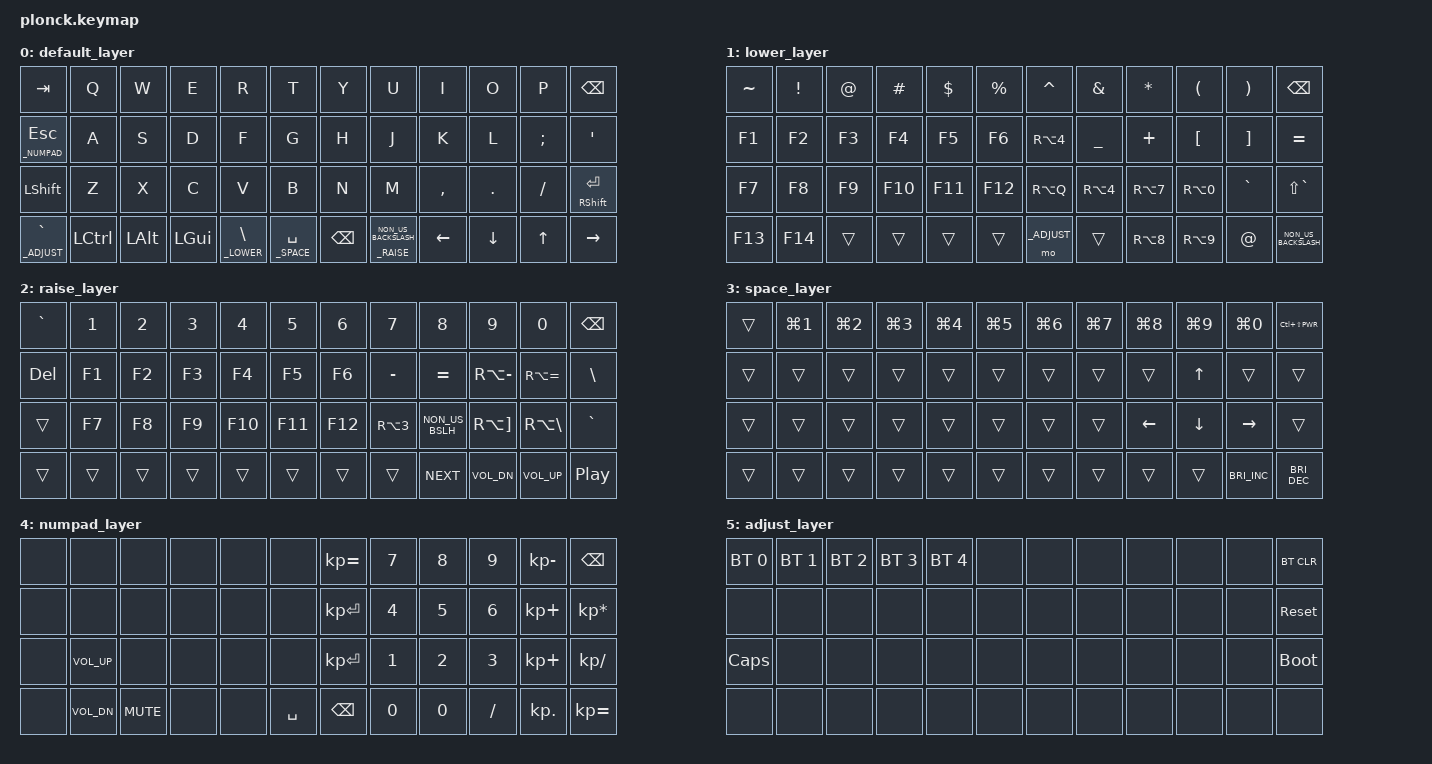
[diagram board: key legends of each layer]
/*
 * Copyright (c) 2022 The ZMK Contributors
 *
 * SPDX-License-Identifier: MIT
 */

#include <behaviors.dtsi>
#include <dt-bindings/zmk/keys.h>
#include <dt-bindings/zmk/bt.h>


// For QMK:
// KC_NONUS_BSLASH (\|) is equivalent to ["é] key in Turkish keyboards.
// KC_GRV (~ `) is equivalent to [<>|] key in Turkish keyboards.
// KC_SCLN is Turkish s [şŞ] key
// KC_QUOT is Turkish i [iİ] key
// KC_COMM is Turkish o [öÖ] key
// KC_DOT is Turkish c [çÇ] key

// For ZMK:
// NON_US_BACKSLASH (\|) is equivalent to ["é] key in Turkish keyboards.
// GRAVE (~ `) is equivalent to [<>|] key in Turkish keyboards.
// SEMI (;) is Turkish s [şŞ] key
// SQT (') is Turkish i [iİ] key
// COMMA (,) is Turkish o [öÖ] key
// DOT (.) is Turkish c [çÇ] key
// FSLH (/) is Turkish dot [.:] key
// BSLH (\) is Turkish comma (,;) key

// Custom shortcuts specific to Turkish layout
#define _CURLY_OPEN RA(N7)
#define _CURLY_CLOSE RA(N0)
#define _AT_SIGN RA(Q)
#define _SQUARE_OPEN RA(N8)
#define _SQUARE_CLOSE RA(N9)
#define _DOLLAR_SIGN RA(N4)
#define _BACKSLASH RA(MINUS)
#define _VERTICAL_PIPE RA(EQUAL)
#define _BACKTICK RA(BACKSLASH)
#define _TILDE RA(RIGHT_BRACKET)
#define _NUMBER_SIGN RA(N3) //hashtag sign
#define _LOCKSCREEN LC(LS(C_PWR)) // Screen Lock shortcut for OSX

// Layers
#define _QWERTY 0
#define _LOWER 1
#define _RAISE 2
#define _SPACE 3
#define _NUMPAD 4
// #define _SODA 5
#define _ADJUST 5

/ {
    keymap {
        compatible = "zmk,keymap";

        default_layer {
        /* Qwerty
        * ,-----------------------------------------------------------------------------------.
        * |  Tab |   Q  |   W  |   E  |   R  |   T  |   Y  |   U  |   I  |   O  |   P  | Bksp |
        * |------+------+------+------+------+------+------+------+------+------+------+------|
        * |NPdEsc|   A  |   S  |   D  |   F  |   G  |   H  |   J  |   K  |   L  |   Ş  |   İ  |
        * |------+------+------+------+------+------+------+------+------+------+------+------|
        * | LSFT |   Z  |   X  |   C  |   V  |   B  |   N  |   M  |   Ö  |   Ç  |   .  |SftEtr|
        * |------+------+------+------+------+------+------+------+------+------+------+------|
        * |Adj|<>| Ctrl | Alt  |  OS  |Lowr|,|Space*| Bksp |Rise|"| Left | Down |  Up  |Right |
        * `-----------------------------------------------------------------------------------'
        */
            bindings = <
    &kp TAB  &kp Q  &kp W  &kp E  &kp R  &kp T &kp Y  &kp U  &kp I  &kp O  &kp P  &kp BSPC
    &lt _NUMPAD ESC  &kp A  &kp S  &kp D  &kp F  &kp G &kp H  &kp J  &kp K  &kp L  &kp SEMI  &kp SQT
    &kp LSHFT  &kp Z  &kp X  &kp C  &kp V  &kp B &kp N  &kp M  &kp COMMA  &kp DOT  &kp FSLH  &mt RSHFT RET
    &lt _ADJUST GRAVE  &kp LCTRL  &kp LALT  &kp LGUI  &lt _LOWER BSLH  &lt _SPACE SPACE  &kp BSPC  &lt _RAISE NON_US_BACKSLASH  &kp LEFT  &kp DOWN  &kp UP  &kp RIGHT
            >;
        };

        lower_layer {
        /* Lower
         * ,-----------------------------------------------------------------------------------.
         * |   >  |   !  |   '  |   ^  |   +  |   %  |   &  |   /  |   (  |   )  |   =  | Bksp |
         * |------+------+------+------+------+------+------+------+------+------+------+------|
         * |  F1  |  F2  |  F3  |  F4  |  F5  |  F6  |  "$" |   ?  |   _  |  Ğ   |  Ü   |  -   |
         * |------+------+------+------+------+------+------+------+------+------+------+------|
         * |  F7  |  F8  |  F9  | F10  |  F11 |  F12 |  "@" |  "$" |  "{" |  "}" |  <   |  ">" |
         * |------+------+------+------+------+------+------+------+------+------+------+------|
         * |  F13 |  F14 |      |      |      |      |  ADJ |      |  "[" |  "]" |  '   |   "  |
         * `-----------------------------------------------------------------------------------'
         */
            bindings = <
                &kp TILDE  &kp EXCL  &kp AT  &kp HASH  &kp DLLR  &kp PRCNT &kp CARET  &kp AMPS  &kp ASTERISK  &kp LPAR  &kp RPAR  &kp BSPC
                &kp F1  &kp F2  &kp F3  &kp F4  &kp F5  &kp F6 &kp _DOLLAR_SIGN  &kp UNDERSCORE &kp PLUS  &kp LEFT_BRACKET  &kp RIGHT_BRACKET  &kp EQUAL
                &kp F7  &kp F8  &kp F9  &kp F10  &kp F11  &kp F12 &kp _AT_SIGN &kp _DOLLAR_SIGN &kp _CURLY_OPEN  &kp _CURLY_CLOSE &kp GRAVE  &kp LS(GRAVE)
                &kp F13  &kp F14  &trans  &trans  &trans  &trans  &mo _ADJUST  &trans  &kp _SQUARE_OPEN  &kp _SQUARE_CLOSE  &kp AT  &kp NON_US_BACKSLASH
            >;
        };
        
        raise_layer {
        /* Raise
        * ,-----------------------------------------------------------------------------------.
        * |  <>| |   1  |   2  |   3  |   4  |   5  |   6  |   7  |   8  |   9  |   0  | Bksp |
        * |------+------+------+------+------+------+------+------+------+------+------+------|
        * |  Del |  F1  |  F2  |  F3  |  F4  |  F5  |  F6  |   *  |   -  | "\"  | "|"  |  ,   |
        * |------+------+------+------+------+------+------+------+------+------+------+------|
        * |      |  F7  |  F8  |  F9  |  F10 |  F11 |  F12 |   #  |   "  | "~"  | "`"  |  <>| |
        * |------+------+------+------+------+------+------+------+------+------+------+------|
        * |      |      |      |      |      |      |      |      | Next | Vol- | Vol+ |PlyPse|
        * `-----------------------------------------------------------------------------------'
        */
            bindings = <
                &kp GRAVE  &kp N1  &kp N2  &kp N3  &kp N4  &kp N5  &kp N6  &kp N7  &kp N8  &kp N9  &kp N0  &kp BSPC
                &kp DEL  &kp F1  &kp F2  &kp F3  &kp F4  &kp F5  &kp F6  &kp MINUS  &kp EQUAL  &kp _BACKSLASH  &kp _VERTICAL_PIPE  &kp BACKSLASH
                &trans  &kp F7  &kp F8  &kp F9  &kp F10  &kp F11  &kp F12  &kp _NUMBER_SIGN  &kp NON_US_BSLH  &kp _TILDE  &kp _BACKTICK  &kp GRAVE
                &trans  &trans  &trans  &trans  &trans  &trans  &trans  &trans  &kp C_NEXT  &kp C_VOL_DN  &kp C_VOL_UP &kp C_PLAY_PAUSE
            >;
        };

        space_layer {
        /* Space Layer (Space Bar Layer Tap)
        * ,-----------------------------------------------------------------------------------.
        * |      |CMD+1 |CMD+2 |CMD+3 |CMD+4 |CMD+5 |CMD+6 |CMD+7 |CMD+8 |CMD+9 |CMD+0 |LCKOSX|
        * |------+------+------+------+------+------+------+------+------+------+------+------|
        * |      |      |      |      |      |      |      |      |      |  Up  |      |      |
        * |------+------+------+------+------+------+------+------+------+------+------+------|
        * |      |      |      |      |      |      |      |      | Left | Down |Right |      |
        * |------+------+------+------+------+------+------+------+------+------+------+------|
        * |      |      |      |      |      |      |      |      |      |      |Brght▼|Brght▲|
        * `-----------------------------------------------------------------------------------'
        */
            bindings = <
                &trans  &kp LG(N1)  &kp LG(N2)  &kp LG(N3)  &kp LG(N4)  &kp LG(N5)  &kp LG(N6)  &kp LG(N7)  &kp LG(N8)  &kp LG(N9)  &kp LG(N0)  &kp _LOCKSCREEN
                &trans  &trans  &trans  &trans  &trans  &trans  &trans  &trans  &trans  &kp UP  &trans  &trans
                &trans  &trans  &trans  &trans  &trans  &trans  &trans  &trans  &kp LEFT  &kp DOWN  &kp RIGHT  &trans
                &trans  &trans  &trans  &trans  &trans  &trans  &trans  &trans  &trans  &trans  &kp C_BRI_INC  &kp C_BRI_DEC
            >;
        };

        numpad_layer {
        /* Numpad Layer
        * KP_PDOT is comma on the Turkish layout ¯\_(ツ)_/¯
        * ,-----------------------------------------------------------------------------------.
        * |      |      |      |      |      |      |   =  |   7  |   8  |   9  |   -  | Bksp |
        * |------+------+------+------+------+------+------+------+------+------+------+------|
        * |      |      |      |      |      |      | Enter|   4  |   5  |   6  |   +  |   *  |
        * |------+------+------+------+------+------+------+------+------+------+------+------|
        * |      | Vol +|      |      |      |      | Enter|   1  |   2  |   3  |   +  |   /  |
        * |------+------+------+------+------+------+------+------+------+------+------+------|
        * |      | Vol -| Mute |      |      | Space| Bkspc|   0  |   0  |   .  |   ,  |   =  |
        * `-----------------------------------------------------------------------------------'
        */
            bindings = <
                &none  &none  &none  &none  &none  &none  &kp KP_EQUAL  &kp N7  &kp N8  &kp N9  &kp KP_MINUS  &kp BSPC
                &none  &none  &none  &none  &none  &none  &kp KP_ENTER  &kp N4  &kp N5  &kp N6  &kp KP_PLUS  &kp KP_ASTERISK
                &none  &kp C_VOL_UP  &none  &none  &none  &none  &kp KP_ENTER  &kp N1  &kp N2  &kp N3  &kp KP_PLUS  &kp KP_SLASH
                &none  &kp C_VOL_DN  &kp C_MUTE  &none  &none &kp SPACE  &kp BSPC  &kp N0  &kp N0  &kp SLASH  &kp KP_DOT  &kp KP_EQUAL
            >;
        };

        adjust_layer {
        /* Adjust Layer
        * ,-----------------------------------------------------------------------------------.
        * | BT 0 | BT 1 | BT 2 | BT 3 | BT 4 |      |      |      |      |      |      |BT CLR|
        * |------+------+------+------+------+------+------+------+------+------+------+------|
        * |      |      |      |      |      |      |      |      |      |      |      | RESET|
        * |------+------+------+------+------+------+------+------+------+------+------+------|
        * |CpsLck|      |      |      |      |      |      |      |      |      |      |BOOTLD|
        * |------+------+------+------+------+------+------+------+------+------+------+------|
        * |      |      |      |      |      |      |      |      |      |      |      |      |
        * `-----------------------------------------------------------------------------------'
        */
            bindings = <
               &bt BT_SEL 0 &bt BT_SEL 1 &bt BT_SEL 2 &bt BT_SEL 3 &bt BT_SEL 4  &none  &none  &none  &none  &none  &none  &bt BT_CLR
                &none  &none  &none  &none  &none  &none  &none  &none  &none  &none  &none  &sys_reset
                &kp CLCK &none  &none  &none  &none  &none  &none  &none  &none  &none  &none  &bootloader
                &none  &none  &none  &none  &none  &none  &none  &none  &none  &none  &none  &none
            >;
        };
    };
};
